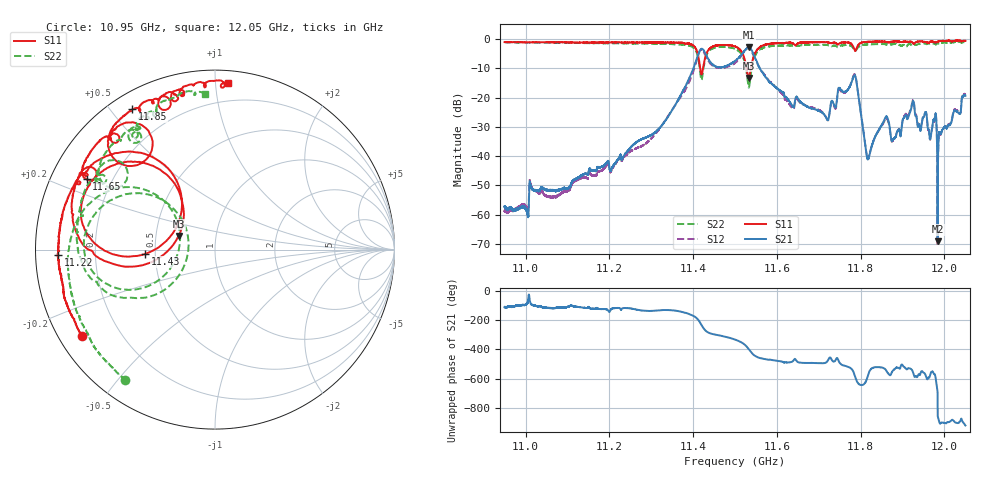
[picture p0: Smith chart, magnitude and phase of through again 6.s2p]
!Agilent Technologies,E8362C,MY49020356,A.09.42.23
!Agilent E8362C: A.09.42.23
!Date: Saturday, September 11, 2021 04:26:30
!Correction: S11(Full 2 Port(1,2))
!S21(Full 2 Port(1,2))
!S12(Full 2 Port(1,2))
!S22(Full 2 Port(1,2))
!S2P File: Measurements: S11, S21, S12, S22:
# Hz S  MA  R 50
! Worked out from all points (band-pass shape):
!   32001 points, 10.95 GHz to 12.05 GHz, reference 50 ohm
!   highest |S21| = -2.89 dB at 11.53 GHz (marker M1); lowest = -69.1 dB at 11.98 GHz (marker M2)
!   |S21| within 3 dB of the highest: 11.41064 GHz to 11.43264 GHz (22 MHz wide, 0.193 % of centre); 11.51236 GHz to 11.54618 GHz (33.82 MHz wide, 0.293 % of centre)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
!   lowest |S11| = -13.3 dB at 11.53 GHz (marker M3), VSWR 1.55, Z = 32.9 + j5.23 ohm
!   |S11| at or under -10 dB: 11.41689 GHz to 11.42352 GHz (6.631 MHz wide, 0.0581 % of centre); 11.52766 GHz to 11.53801 GHz (10.35 MHz wide, 0.0898 % of centre)
!   |S22| runs from -16.6 to -0.9 dB; largest |S21 - S12| = 0.047
!   S11 on the Smith chart (normalised r, x): 10.95 GHz: 0.07, -0.29; 11.22 GHz: 0.07, -0.02; 11.43 GHz: 0.44, -0.03; 11.65 GHz: 0.11, +0.25; 11.85 GHz: 0.06, +0.57; 12.05 GHz: 0.08, +1.08
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1.095e10  0.8848 -147.1  0.00139 -111.8  0.001152 -113.4  0.8798 -124.6
1.113336e10  0.8703 -167.9  0.004703 -112.4  0.004246 -119.4  0.8542 -145.2
1.121665e10  0.875 -178.2  0.008013 -117.5  0.007713 -119.5  0.8434 -156.0
1.131668e10  0.8727 167.3  0.02844 -134.0  0.02768 -126.2  0.8278 -171.4
1.140413e10  0.728 131.4  0.3676 -177.3  0.3354 -172.4  0.6716 150.5
1.142572e10  0.3894 -176.4  0.6309 100.9  0.5935 100.9  0.3504 -151.7
1.144943e10  0.7553 168.4  0.3539 62.5  0.341 65.2  0.7017 -171.2
1.15e10  0.7449 141.6  0.422 26.6  0.3897 28.5  0.6798 160.2
1.153248e10  0.2168 153.7  0.7171 -37.3  0.7049 -36.4  0.1496 170.7
1.153307e10  0.2154 159.4  0.7144 -39.3  0.7027 -38.8  0.1477 178.6
1.155675e10  0.6912 -179.6  0.3409 -97.2  0.3387 -93.5  0.6481 -158.3
1.164747e10  0.8155 151.3  0.1031 -120.7  0.09609 -116.3  0.7644 165.7
1.168336e10  0.8818 142.7  0.06547 -132.8  0.06764 -130.1  0.7926 159.1
1.172069e10  0.879 134.5  0.04178 -120.9  0.04154 -122.7  0.7874 150.3
1.178462e10  0.6709 121.4  0.2406 152.5  0.2472 154.6  0.6572 138.1
1.181639e10  0.8936 128.2  0.009004 133.2  0.009324 132.8  0.8073 141.7
1.185049e10  0.9078 120.5  0.03429 -164.4  0.03282 -165.8  0.8193 134.0
1.186668e10  0.8823 118.2  0.03905 151.8  0.03712 153.8  0.8035 130.8
1.187881e10  0.9098 116.9  0.0197 179.4  0.01926 -177.2  0.8189 128.7
1.192388e10  0.8663 106.7  0.0819 170.9  0.08666 170.3  0.8079 123.0
1.198366e10  0.8903 102.9  0.0003511 -57.7  0.0002913 -56.6  0.8435 113.7
1.205e10  0.9294 85.5  0.1075 159.4  0.1118 157.0  0.8666 93.4
